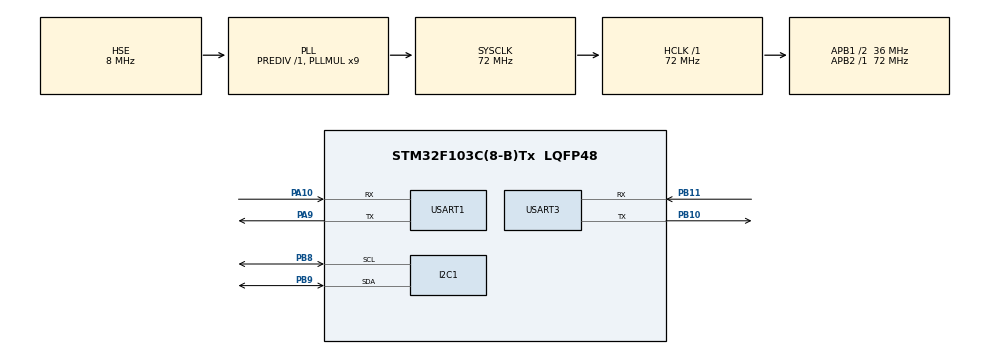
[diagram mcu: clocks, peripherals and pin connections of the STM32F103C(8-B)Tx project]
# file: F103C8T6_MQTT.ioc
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Dma.I2C1_TX.0.Direction=DMA_MEMORY_TO_PERIPH
Dma.I2C1_TX.0.Instance=DMA1_Channel6
Dma.I2C1_TX.0.MemDataAlignment=DMA_MDATAALIGN_BYTE
Dma.I2C1_TX.0.MemInc=DMA_MINC_ENABLE
Dma.I2C1_TX.0.Mode=DMA_NORMAL
Dma.I2C1_TX.0.PeriphDataAlignment=DMA_PDATAALIGN_BYTE
Dma.I2C1_TX.0.PeriphInc=DMA_PINC_DISABLE
Dma.I2C1_TX.0.Priority=DMA_PRIORITY_LOW
Dma.Request0=I2C1_TX
Dma.Request1=USART1_RX
Dma.Request2=USART1_TX
Dma.Request3=USART3_RX
Dma.Request4=USART3_TX
Dma.USART1_RX.1.Direction=DMA_PERIPH_TO_MEMORY
Dma.USART1_RX.1.Instance=DMA1_Channel5
Dma.USART1_RX.1.MemDataAlignment=DMA_MDATAALIGN_BYTE
Dma.USART1_RX.1.MemInc=DMA_MINC_ENABLE
Dma.USART1_RX.1.Mode=DMA_NORMAL
Dma.USART1_RX.1.PeriphDataAlignment=DMA_PDATAALIGN_BYTE
Dma.USART1_RX.1.PeriphInc=DMA_PINC_DISABLE
Dma.USART1_RX.1.Priority=DMA_PRIORITY_LOW
Dma.USART1_TX.2.Direction=DMA_MEMORY_TO_PERIPH
Dma.USART1_TX.2.Instance=DMA1_Channel4
Dma.USART1_TX.2.MemDataAlignment=DMA_MDATAALIGN_BYTE
Dma.USART1_TX.2.MemInc=DMA_MINC_ENABLE
Dma.USART1_TX.2.Mode=DMA_NORMAL
Dma.USART1_TX.2.PeriphDataAlignment=DMA_PDATAALIGN_BYTE
Dma.USART1_TX.2.PeriphInc=DMA_PINC_DISABLE
Dma.USART1_TX.2.Priority=DMA_PRIORITY_LOW
Dma.USART3_RX.3.Direction=DMA_PERIPH_TO_MEMORY
Dma.USART3_RX.3.Instance=DMA1_Channel3
Dma.USART3_RX.3.MemDataAlignment=DMA_MDATAALIGN_BYTE
Dma.USART3_RX.3.MemInc=DMA_MINC_ENABLE
Dma.USART3_RX.3.Mode=DMA_NORMAL
Dma.USART3_RX.3.PeriphDataAlignment=DMA_PDATAALIGN_BYTE
Dma.USART3_RX.3.PeriphInc=DMA_PINC_DISABLE
Dma.USART3_RX.3.Priority=DMA_PRIORITY_LOW
Dma.USART3_TX.4.Direction=DMA_MEMORY_TO_PERIPH
Dma.USART3_TX.4.Instance=DMA1_Channel2
Dma.USART3_TX.4.MemDataAlignment=DMA_MDATAALIGN_BYTE
Dma.USART3_TX.4.MemInc=DMA_MINC_ENABLE
Dma.USART3_TX.4.Mode=DMA_NORMAL
Dma.USART3_TX.4.PeriphDataAlignment=DMA_PDATAALIGN_BYTE
Dma.USART3_TX.4.PeriphInc=DMA_PINC_DISABLE
Dma.USART3_TX.4.Priority=DMA_PRIORITY_LOW
I2C1.I2C_Mode=I2C_Fast
Mcu.Family=STM32F1
Mcu.Name=STM32F103C(8-B)Tx
Mcu.Package=LQFP48
NVIC.DMA1_Channel2_IRQn=true\:0\:0\:false\:false\:true\:false\:true\:true
NVIC.DMA1_Channel3_IRQn=true\:0\:0\:false\:false\:true\:false\:true\:true
NVIC.DMA1_Channel4_IRQn=true\:0\:0\:false\:false\:true\:false\:true\:true
NVIC.DMA1_Channel5_IRQn=true\:0\:0\:false\:false\:true\:false\:true\:true
NVIC.DMA1_Channel6_IRQn=true\:0\:0\:false\:false\:true\:false\:true\:true
NVIC.I2C1_ER_IRQn=true\:0\:0\:false\:false\:true\:true\:true\:true
NVIC.I2C1_EV_IRQn=true\:0\:0\:false\:false\:true\:true\:true\:true
NVIC.PriorityGroup=NVIC_PRIORITYGROUP_4
NVIC.TIM2_IRQn=true\:0\:0\:false\:false\:true\:true\:true\:true
NVIC.USART1_IRQn=true\:0\:0\:false\:false\:true\:true\:true\:true
NVIC.USART3_IRQn=true\:0\:0\:false\:false\:true\:true\:true\:true
PA10.Mode=Asynchronous
PA10.Signal=USART1_RX
PA13.Mode=Serial_Wire
PA13.Signal=SYS_JTMS-SWDIO
PA14.Mode=Serial_Wire
PA14.Signal=SYS_JTCK-SWCLK
PA9.Mode=Asynchronous
PA9.Signal=USART1_TX
PB10.Mode=Asynchronous
PB10.Signal=USART3_TX
PB11.Mode=Asynchronous
PB11.Signal=USART3_RX
PB8.Mode=I2C
PB8.Signal=I2C1_SCL
PB9.Mode=I2C
PB9.Signal=I2C1_SDA
PC14-OSC32_IN.Mode=LSE-External-Oscillator
PC14-OSC32_IN.Signal=RCC_OSC32_IN
PC15-OSC32_OUT.Mode=LSE-External-Oscillator
PC15-OSC32_OUT.Signal=RCC_OSC32_OUT
PD0-OSC_IN.Mode=HSE-External-Oscillator
PD0-OSC_IN.Signal=RCC_OSC_IN
PD1-OSC_OUT.Mode=HSE-External-Oscillator
PD1-OSC_OUT.Signal=RCC_OSC_OUT
ProjectManager.HeapSize=0x200
ProjectManager.StackSize=0x400
ProjectManager.TargetToolchain=STM32CubeIDE
RCC.AHBFreq_Value=72000000
RCC.APB1CLKDivider=RCC_HCLK_DIV2
RCC.APB1Freq_Value=36000000
RCC.APB1TimFreq_Value=72000000
RCC.APB2Freq_Value=72000000
RCC.APB2TimFreq_Value=72000000
RCC.HCLKFreq_Value=72000000
RCC.PLLMUL=RCC_PLL_MUL9
RCC.PLLSourceVirtual=RCC_PLLSOURCE_HSE
RCC.SYSCLKFreq_VALUE=72000000
RCC.SYSCLKSource=RCC_SYSCLKSOURCE_PLLCLK
RCC.USBFreq_Value=72000000
TIM2.Period=10000-1
TIM2.Prescaler=7200-1
USART1.VirtualMode=VM_ASYNC
USART3.VirtualMode=VM_ASYNC
VP_TIM2_VS_ClockSourceINT.Mode=Internal
board=custom

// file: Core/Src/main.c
/* USER CODE BEGIN Header */
/**
  ******************************************************************************
  * @file           : main.c
  * @brief          : Main program body
  ******************************************************************************
  * @attention
  *
  * Copyright (c) 2025 STMicroelectronics.
  * All rights reserved.
  *
  * This software is licensed under terms that can be found in the LICENSE file
  * in the root directory of this software component.
  * If no LICENSE file comes with this software, it is provided AS-IS.
  *
  ******************************************************************************
  */
/* USER CODE END Header */
#include "main.h"
#include "dma.h"
#include "i2c.h"
#include "tim.h"
#include "usart.h"
#include "gpio.h"

/* USER CODE BEGIN Includes */
#include "string.h"
#include"../../User/Printf/retarget.h"		//printf函数重映射
#include "../../User/OLED/oled.h"
#include "../../User/ESP32_AT/MQTT_AT.h"

/* USER CODE END Includes */

void SystemClock_Config(void);

/* USER CODE BEGIN 0 */

uint16_t fps = 0, fps_max = 0;
char buffer1[20] = {0};//用于格式化显示
char buffer3[20] = {0};//用于格式化显示

//重定义'定时器周期回调'函数
void HAL_TIM_PeriodElapsedCallback(TIM_HandleTypeDef *htim){	//1S周期回调
	if(htim == &htim2){
		if(fps_max - fps < -1 || fps_max - fps > 1)
		{
			fps_max = fps;
		}
		fps = 0;

		//printf("Success!");
	}
}

extern DMA_HandleTypeDef hdma_usart3_rx;//声明外部句柄
extern DMA_HandleTypeDef hdma_usart1_rx;//声明外部句柄
char receivData[50] = {0};//存放UART1接收内容(记得初始化)
uint8_t dataReady;//发送标志位

//重定义'串口事件回调'函数
void HAL_UARTEx_RxEventCallback(UART_HandleTypeDef *huart, uint16_t Size){
	if(huart == &huart1){
		dataReady = 1;//在主函数里处理发送
		//HAL_UART_Transmit_DMA(&huart1, (uint8_t*)receivData, Size);//这里将数据发回,所以发送接收到的长度

		//处理数据...

		HAL_UARTEx_ReceiveToIdle_DMA(&huart1, (uint8_t*)receivData, 50);
		__HAL_DMA_DISABLE_IT(&hdma_usart1_rx,DMA_IT_HT);//关闭DMA接收过半中断
	}

	//ESP32回复数据处理
	ESP32_RxCpltHandle(huart,Size);
}

void HAL_UART_TxCpltCallback(UART_HandleTypeDef *huart)
{
	//ESP32发送完成处理
	ESP32_TxCpltHandle(huart);
}

/* USER CODE END 0 */

int main(void)
{

  /* MCU Configuration--------------------------------------------------------*/

  /* Reset of all peripherals, Initializes the Flash interface and the Systick. */
  HAL_Init();

  /* Configure the system clock */
  SystemClock_Config();

  /* Initialize all configured peripherals */
  MX_GPIO_Init();
  MX_DMA_Init();
  MX_I2C1_Init();
  MX_TIM2_Init();
  MX_USART3_UART_Init();
  MX_USART1_UART_Init();
  /* USER CODE BEGIN 2 */

  /*==================================================初始化==============================================*/

  HAL_Delay(200);
  OLED_Init();
  RetargetInit(&huart1);

  AT_ESP32_Init(&huart3);//绑定通信接口，并初始化

  /*=================================================开启功能==============================================*/

  HAL_UARTEx_ReceiveToIdle_DMA(&huart1, (uint8_t*)receivData, 50);//开启接收，末参数为最大长度
  __HAL_DMA_DISABLE_IT(&hdma_usart1_rx,DMA_IT_HT);//关闭DMA接收过半中断

  HAL_TIM_Base_Start_IT(&htim2);//开启定时

  /*---------------------------开启WiFi--------------------------*/
  HAL_Delay(200);
  AT_WiFi_Connect();
  HAL_Delay(700);

  /*---------------------------连接MQTT--------------------------*/

 // 	AT_MQTT_Set();
  //	HAL_Delay(700);
  //  AT_MQTT_Connect(MQTT_host,MQTT_port);			//连接

//  AT_MQTT_Subscribe(Info_Topic,0);				//订阅
//  AT_MQTT_Publish(publish_Topic,Data_Info,0,0);	//推送
  /* USER CODE END 2 */

  /* Infinite loop */
  /* USER CODE BEGIN WHILE */
  while (1)
  {
	  if (dataReady) {
		  // 处理activeBuffer中的数据
		  HAL_UART_Transmit_DMA(&huart1, (uint8_t*)receivData, strlen(receivData));//发到串口一
		  dataReady = 0;
	  }

	//dosomething...

	//显示帧数
	OLED_NewFrame();

	sprintf(buffer1,"%u %u 6", fps_max, fps);
	sprintf(buffer3,"State:%d %d",ESP32_AT.AT_state,ESP32_AT.AT_WiFi.WiFi_state);//成功都是 0

	OLED_PrintASCIIString(0, 0, buffer1, &afont16x8, OLED_COLOR_NORMAL);
	OLED_PrintASCIIString(20, 20, buffer3, &afont16x8, OLED_COLOR_NORMAL);
	OLED_ShowFrame();
	fps++;//每刷新一帧++

    /* USER CODE END WHILE */

  }
}

void SystemClock_Config(void)
{
  RCC_OscInitTypeDef RCC_OscInitStruct = {0};
  RCC_ClkInitTypeDef RCC_ClkInitStruct = {0};

  /** Initializes the RCC Oscillators according to the specified parameters
  * in the RCC_OscInitTypeDef structure.
  */
  RCC_OscInitStruct.OscillatorType = RCC_OSCILLATORTYPE_HSE;
  RCC_OscInitStruct.HSEState = RCC_HSE_ON;
  RCC_OscInitStruct.HSEPredivValue = RCC_HSE_PREDIV_DIV1;
  RCC_OscInitStruct.HSIState = RCC_HSI_ON;
  RCC_OscInitStruct.PLL.PLLState = RCC_PLL_ON;
  RCC_OscInitStruct.PLL.PLLSource = RCC_PLLSOURCE_HSE;
  RCC_OscInitStruct.PLL.PLLMUL = RCC_PLL_MUL9;
  if (HAL_RCC_OscConfig(&RCC_OscInitStruct) != HAL_OK)
  {
    Error_Handler();
  }

  /** Initializes the CPU, AHB and APB buses clocks
  */
  RCC_ClkInitStruct.ClockType = RCC_CLOCKTYPE_HCLK|RCC_CLOCKTYPE_SYSCLK
                              |RCC_CLOCKTYPE_PCLK1|RCC_CLOCKTYPE_PCLK2;
  RCC_ClkInitStruct.SYSCLKSource = RCC_SYSCLKSOURCE_PLLCLK;
  RCC_ClkInitStruct.AHBCLKDivider = RCC_SYSCLK_DIV1;
  RCC_ClkInitStruct.APB1CLKDivider = RCC_HCLK_DIV2;
  RCC_ClkInitStruct.APB2CLKDivider = RCC_HCLK_DIV1;

  if (HAL_RCC_ClockConfig(&RCC_ClkInitStruct, FLASH_LATENCY_2) != HAL_OK)
  {
    Error_Handler();
  }
}

void Error_Handler(void)
{
  __disable_irq();
  while (1)
  {
  }
}
